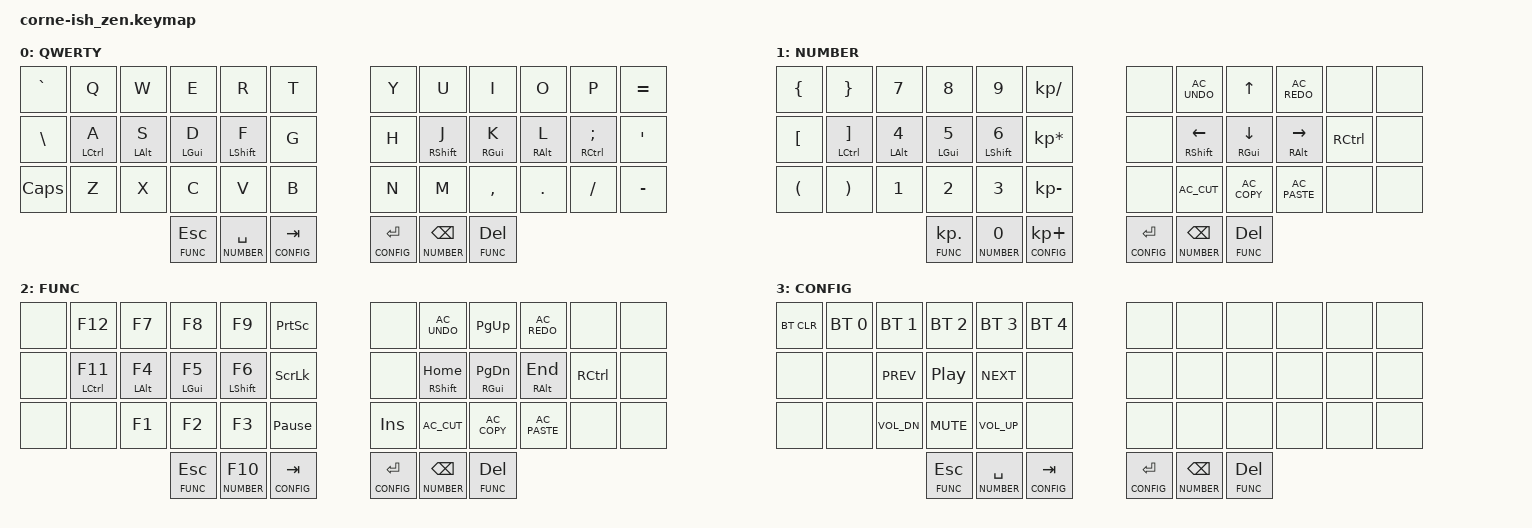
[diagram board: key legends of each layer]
#include <behaviors.dtsi>
#include <dt-bindings/zmk/keys.h>
#include <dt-bindings/zmk/bt.h>

#define QWERTY 0
#define NUMBER 1
#define FUNC 2
#define CONFIG 3

/*
TODO: MAC/WIN layer

##  Mac         -- Win key conversions
    CTRL        -- CTRL
    OPTION      -- WIN(GUI)
    CMD (GUI)   -- ALT

### all layers have mirrored home row mods
Mac:
CTRL OPT CMD SHIFT      SHIFT CMD OPT CTRL

Win:
WIN ALT CTRL SHIFT      SHIFT CTRL ALT WIN

*/

/ {
        behaviors {
            hm_ctr: homerow_mod_ctr {
                compatible = "zmk,behavior-hold-tap";
                label = "HOMEROW_MOD_CTRL";
                #binding-cells = <2>;
                tapping-term-ms = <180>;
                quick_tap_ms = <0>;
                flavor = "tap-preferred";
                bindings = <&kp>, <&kp>;
            };
            hm_alt: homerow_mod_alt {
                compatible = "zmk,behavior-hold-tap";
                label = "HOMEROW_MOD_ALT";
                #binding-cells = <2>;
                tapping-term-ms = <200>;
                quick_tap_ms = <0>;
                flavor = "tap-preferred";
                bindings = <&kp>, <&kp>;
            };
            hm_cmd: homerow_mod_cmd {
                compatible = "zmk,behavior-hold-tap";
                label = "HOMEROW_MOD_CMD";
                #binding-cells = <2>;
                tapping-term-ms = <150>;
                quick_tap_ms = <0>;
                flavor = "tap-preferred";
                bindings = <&kp>, <&kp>;
            };
            hm_sft: homerow_mod_sft {
                            compatible = "zmk,behavior-hold-tap";
                            label = "HOMEROW_MOD_SHIFT";
                            #binding-cells = <2>;
                            tapping-term-ms = <100>;
                            quick_tap_ms = <0>;
                            flavor = "tap-preferred";
                            bindings = <&kp>, <&kp>;
                        };
//            // layer tap with home row mod characteristics
//            lt_hm: homerow_mods {
//                            compatible = "zmk,behavior-hold-tap";
//                            label = "LAYER_TAP_HOMEROW_MOD";
//                            #binding-cells = <2>;
//                            tapping-term-ms = <150>;
//                            quick_tap_ms = <0>;
//                            flavor = "tap-preferred";
//                            bindings = <&mo>, <&kp>;
//                        };
        };

        keymap {
                compatible = "zmk,keymap";

                default_layer {
                        label = "QWERTY";

// GUI: WIN on Windows, CMD on MacOS
// -----------------------------------------------------------------------------------------
// |  `~  |   Q   |   W   |   E   |   R   |   T   |       |   Y   |   U   |   I   |   O   |   P   |   =+  |
// |  \|  |   A   |   S   |   D   |   F   |   G   |       |   H   |   J   |   K   |   L   |   ;:  |   '"  |
// | CAPS |   Z   |   X   |   C   |   V   |   B   |       |   N   |   M   |   ,<  |   .>  |   /?  |   -_  |
//                        |  ESC  |  SPC  |  TAB  |       | ENTER |  BSPC |  DEL  |
                        bindings = <
   &kp GRAVE    &kp Q           &kp W           &kp E           &kp R           &kp T           &kp Y               &kp U               &kp I           &kp O           &kp P               &kp EQUAL
   &kp BSLH     &hm_ctr LCTRL A &hm_alt LALT S  &hm_cmd LGUI D  &hm_sft LSHFT F &kp G           &kp H               &hm_sft RSHFT J     &hm_cmd RGUI K  &hm_alt RALT L  &hm_ctr RCTRL SEMI  &kp SINGLE_QUOTE
   &kp CAPS     &kp Z           &kp X           &kp C           &kp V           &kp B           &kp N               &kp M               &kp COMMA       &kp DOT         &kp SLASH           &kp MINUS
                                        &lt FUNC ESC    &lt NUMBER SPC  &lt CONFIG TAB  &lt CONFIG ENTER    &lt NUMBER BSPC     &lt FUNC DEL
                        >;
                };

                number_layer {
                    label = "NUMBER";

// -----------------------------------------------------------------------------------------
// |   {   |   }   |   7&  |   8*  |   9(  |   /   |       |       |  UNDO |   ↑   |  REDO |       |       |
// |   [{  |   ]}  |   4$  |   5%  |   6^  |   *   |       |       |   ←   |   ↓   |   →   |       |       |
// |   (   |   )   |   1!  |   2@  |   3#  |   -   |       |       |  CUT  | COPY  | PASTE |       |       |
//                         |   .   |   0)  |   +   |       | ENTER |  BSPC |  DEL  |
                        bindings = <
   &kp LBRC     &kp RBRC            &kp N7          &kp N8              &kp N9              &kp KP_SLASH            &none               &kp C_AC_UNDO       &kp UP              &kp C_AC_REDO       &none       &none
   &kp LBKT     &hm_ctr LCTRL RBKT  &hm_alt LALT N4 &hm_cmd LGUI N5     &hm_sft LSHFT N6    &kp KP_MULTIPLY         &none               &hm_sft RSHFT LEFT  &hm_cmd RGUI DOWN   &hm_alt RALT RIGHT  &kp RCTRL   &none
   &kp LPAR     &kp RPAR            &kp N1          &kp N2              &kp N3              &kp KP_MINUS            &none               &kp C_AC_CUT        &kp C_AC_COPY       &kp C_AC_PASTE      &none       &none
                                                &lt FUNC KP_DOT  &lt NUMBER N0    &lt CONFIG KP_PLUS   &lt CONFIG ENTER &lt NUMBER BSPC  &lt FUNC DEL
                        >;
                };

                function_layer {
                    label = "FUNC";

// -----------------------------------------------------------------------------------------
// |       |  F12  |   F7  |   F8  |   F9  | PrtSc |       |       |  UNDO |  PGUP |  REDO |       |       |
// |       |  F11  |   F4  |   F5  |   F6  | ScrLk |       |       |  HOME |  PGDN |  END  |       |       |
// |       |       |   F1  |   F2  |   F3  | PauBrk|       |  INS  |  CUT  |  COPY | PASTE |       |       |
//                         |  ESC  |   F10 |  TAB  |       | ENTER |  BSPC |  DEL  |
                        bindings = <
   &none    &kp F12             &kp F7          &kp F8          &kp F9              &kp PSCRN           &none               &kp C_AC_UNDO       &kp PG_UP           &kp C_AC_REDO       &none       &none
   &none    &hm_ctr LCTRL F11   &hm_alt LALT F4 &hm_cmd LGUI F5 &hm_sft LSHFT F6    &kp SLCK            &none               &hm_sft RSHFT HOME  &hm_cmd RGUI PG_DN  &hm_alt RALT END    &kp RCTRL   &none
   &none    &none               &kp F1          &kp F2          &kp F3              &kp PAUSE_BREAK     &kp INS             &kp C_AC_CUT        &kp C_AC_COPY       &kp C_AC_PASTE      &none       &none
                                                &lt FUNC ESC &lt NUMBER F10   &lt CONFIG TAB   &lt CONFIG ENTER &lt NUMBER BSPC  &lt FUNC DEL
                        >;
                };

                config_layer {
                    label = "CONFIG";

// -----------------------------------------------------------------------------------------
// | BT_CLR|  BT1  |  BT2  |  BT3  |  BT4  |  BT5  |       |       |       |       |       |       |       |
// |  MAC  |  WIN  |   <<  |  >||  |   >>  |       |       |       |       |       |       |       |       |
// | RESET |       | VOLDN |  MUTE | VOLUP |       |       |       |       |       |       |       |       |
//                         |  ESC  |  SPC  |  TAB  |       | ENTER |  BSPC |  DEL  |
                        bindings = <
   &bt BT_CLR   &bt BT_SEL 0    &bt BT_SEL 1    &bt BT_SEL 2    &bt BT_SEL 3    &bt BT_SEL 4    &none               &none               &none       &none   &none   &none
   &none        &none           &kp C_PREV      &kp C_PP        &kp C_NEXT      &none           &none               &none               &none       &none   &none   &none
   &none        &none           &kp C_VOL_DN    &kp C_MUTE      &kp C_VOL_UP    &none           &none               &none               &none       &none   &none   &none
                                                &lt FUNC ESC    &lt NUMBER SPC  &lt CONFIG TAB  &lt CONFIG ENTER    &lt NUMBER BSPC     &lt FUNC DEL
                        >;
                };

        };
};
